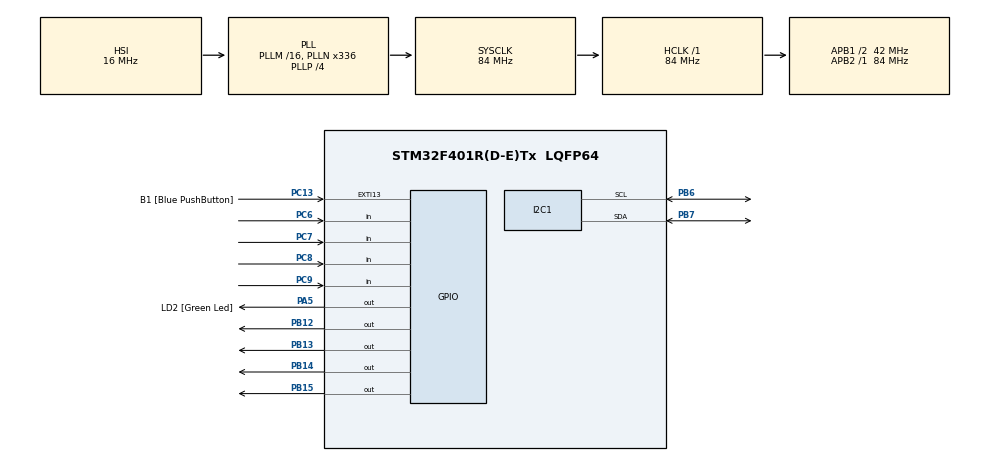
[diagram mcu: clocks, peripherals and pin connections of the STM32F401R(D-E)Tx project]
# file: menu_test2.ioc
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Mcu.Family=STM32F4
Mcu.Name=STM32F401R(D-E)Tx
Mcu.Package=LQFP64
NVIC.PriorityGroup=NVIC_PRIORITYGROUP_0
PA13.GPIO_Label=TMS
PA13.Signal=SYS_JTMS-SWDIO
PA14.GPIO_Label=TCK
PA14.Signal=SYS_JTCK-SWCLK
PA2.GPIO_Label=USART_TX
PA2.GPIO_Mode=GPIO_MODE_AF_PP
PA2.GPIO_PuPd=GPIO_NOPULL
PA2.GPIO_Speed=GPIO_SPEED_FREQ_LOW
PA2.Signal=USART2_TX
PA3.GPIO_Label=USART_RX
PA3.GPIO_Mode=GPIO_MODE_AF_PP
PA3.GPIO_PuPd=GPIO_NOPULL
PA3.GPIO_Speed=GPIO_SPEED_FREQ_LOW
PA3.Signal=USART2_RX
PA5.GPIO_Label=LD2 [Green Led]
PA5.GPIO_Mode=GPIO_MODE_OUTPUT_PP
PA5.GPIO_PuPd=GPIO_NOPULL
PA5.GPIO_Speed=GPIO_SPEED_FREQ_LOW
PA5.Signal=GPIO_Output
PB12.Signal=GPIO_Output
PB13.PinState=GPIO_PIN_SET
PB13.Signal=GPIO_Output
PB14.PinState=GPIO_PIN_SET
PB14.Signal=GPIO_Output
PB15.PinState=GPIO_PIN_SET
PB15.Signal=GPIO_Output
PB3.GPIO_Label=SWO
PB3.Signal=SYS_JTDO-SWO
PB6.Mode=I2C
PB6.Signal=I2C1_SCL
PB7.Mode=I2C
PB7.Signal=I2C1_SDA
PC13-ANTI_TAMP.GPIO_Label=B1 [Blue PushButton]
PC13-ANTI_TAMP.GPIO_ModeDefaultEXTI=GPIO_MODE_IT_FALLING
PC13-ANTI_TAMP.GPIO_PuPd=GPIO_NOPULL
PC13-ANTI_TAMP.Signal=GPXTI13
PC14-OSC32_IN.Signal=RCC_OSC32_IN
PC15-OSC32_OUT.Signal=RCC_OSC32_OUT
PC6.GPIO_PuPd=GPIO_PULLUP
PC6.Signal=GPIO_Input
PC7.GPIO_PuPd=GPIO_PULLUP
PC7.Signal=GPIO_Input
PC8.GPIO_PuPd=GPIO_PULLUP
PC8.Signal=GPIO_Input
PC9.GPIO_PuPd=GPIO_PULLUP
PC9.Signal=GPIO_Input
PH0\ -\ OSC_IN.Signal=RCC_OSC_IN
PH1\ -\ OSC_OUT.Signal=RCC_OSC_OUT
ProjectManager.HeapSize=0x200
ProjectManager.StackSize=0x400
ProjectManager.TargetToolchain=STM32CubeIDE
RCC.AHBFreq_Value=84000000
RCC.APB1CLKDivider=RCC_HCLK_DIV2
RCC.APB1Freq_Value=42000000
RCC.APB1TimFreq_Value=84000000
RCC.APB2Freq_Value=84000000
RCC.APB2TimFreq_Value=84000000
RCC.CortexFreq_Value=84000000
RCC.HCLKFreq_Value=84000000
RCC.HSE_VALUE=8000000
RCC.HSI_VALUE=16000000
RCC.LSE_VALUE=32768
RCC.PLLN=336
RCC.PLLP=RCC_PLLP_DIV4
RCC.PLLQ=7
RCC.SYSCLKFreq_VALUE=84000000
RCC.SYSCLKSource=RCC_SYSCLKSOURCE_PLLCLK
RCC.VCOOutputFreq_Value=336000000
board=NUCLEO-F401RE

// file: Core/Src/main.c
/* USER CODE BEGIN Header */
/**
  ******************************************************************************
  * @file           : main.c
  * @brief          : Main program body
  ******************************************************************************
  * @attention
  *
  * Copyright (c) 2025 STMicroelectronics.
  * All rights reserved.
  *
  * This software is licensed under terms that can be found in the LICENSE file
  * in the root directory of this software component.
  * If no LICENSE file comes with this software, it is provided AS-IS.
  *
  ******************************************************************************
  */
/* USER CODE END Header */
#include "main.h"

/* USER CODE BEGIN Includes */
#include "keypad.h"
#include "LCD_I2C.h"
#include "stdio.h"
#include <string.h>
#include "flash.h"
/* USER CODE END Includes */

I2C_HandleTypeDef hi2c1;

/* USER CODE BEGIN PV */
CLCD_I2C_Name LCD1;
/* USER CODE END PV */

void SystemClock_Config(void);
static void MX_GPIO_Init(void);
static void MX_I2C1_Init(void);

/* USER CODE BEGIN 0 */
typedef struct{
	uint8_t payload[10];
	uint16_t len;
}parameter_t;

parameter_t data;

void delete_data(parameter_t *data) {
    if (data->len > 0) { // Kiểm tra xem có dữ liệu để xóa không
        data->len--; // Giảm độ dài
        data->payload[data->len] = '\0'; // �?ặt ký tự cuối thành '\0'
    }
}

void add_data(parameter_t *data, char c) {
    if (data->len < 10) { // Đảm bảo không vượt quá mảng
        data->payload[data->len] = c; // Thêm ký tự vào vị trí tiếp theo
        data->len++;                   // Cập nhật độ dài
        data->payload[data->len] = '\0'; // Đảm bảo kết thúc chuỗi
    }
}

float b=0;
float a=12.3456;
typedef struct
{
	uint8_t password[10];
	uint8_t s1;
	uint8_t t1;
	uint8_t s2;
	uint8_t t2;
}Parameter_Infor;

Parameter_Infor parameter =
{
		"123123",
		3,
		4,
		5,
		6
};

Parameter_Infor parameter_read;
/* USER CODE END 0 */

int main(void)
{

  /* MCU Configuration--------------------------------------------------------*/

  /* Reset of all peripherals, Initializes the Flash interface and the Systick. */
  HAL_Init();

  /* Configure the system clock */
  SystemClock_Config();

  /* Initialize all configured peripherals */
  MX_GPIO_Init();
  MX_I2C1_Init();
  /* USER CODE BEGIN 2 */
  CLCD_I2C_Init(&LCD1,&hi2c1,0x4e,20,4);
  CLCD_I2C_SetCursor(&LCD1, 3, 0);
  CLCD_I2C_WriteString(&LCD1, "ENTER PASSWORD");

	// vi du ve read , write 1 bien

// flash_unlock();
// flash_erease(FLASH_SECTOR_6);
// flash_write_arr(0x08040000,(uint8_t *)&parameter,sizeof(parameter));
// flash_lock();
 flash_read_arr(0x08040000, (uint8_t*)&parameter_read, sizeof(parameter_read));
  /* USER CODE END 2 */

  /* Infinite loop */
  while (1)
  {

    /* USER CODE BEGIN 3 */
  	  static parameter_t password = {{0},0};
  	  uint16_t btn_value;
  	  btn_value = process_button_pad_value(read_keypad());
  	  if (btn_value) {
	  					switch (btn_value) {
	  						case BUTTON_1:
	  							add_data(&password, '1');
	  							printf("len=%d, payload=%s\n", password.len, password.payload);
	  							CLCD_I2C_SetCursor(&LCD1, 3, 1);
	  							CLCD_I2C_WriteString(&LCD1, (char*)password.payload);
	  							break;

	  						case BUTTON_2:
	  							add_data(&password, '2');
	  							printf("len=%d, payload=%s\n", password.len, password.payload);
	  							CLCD_I2C_SetCursor(&LCD1, 3, 1);
	  							CLCD_I2C_WriteString(&LCD1, (char*)password.payload);
	  							break;

	  						case BUTTON_3:
	  							add_data(&password, '3');
	  							printf("len=%d, payload=%s\n", password.len, password.payload);
	  							CLCD_I2C_SetCursor(&LCD1, 3, 1);
	  							CLCD_I2C_WriteString(&LCD1, (char*)password.payload);
	  							break;

	  						case BUTTON_A:
	  							break;

	  						case BUTTON_4:
	  							add_data(&password, '4');
	  							printf("len=%d, payload=%s\n", password.len, password.payload);
	  							CLCD_I2C_SetCursor(&LCD1, 3, 1);
	  							CLCD_I2C_WriteString(&LCD1, (char*)password.payload);
	  							break;

	  						case BUTTON_5:
	  							add_data(&password, '5');
	  							printf("len=%d, payload=%s\n", password.len, password.payload);
	  							CLCD_I2C_SetCursor(&LCD1, 3, 1);
	  							CLCD_I2C_WriteString(&LCD1, (char*)password.payload);
	  							break;

	  						case BUTTON_6:
	  							add_data(&password, '6');
	  							printf("len=%d, payload=%s\n", password.len, password.payload);
	  							CLCD_I2C_SetCursor(&LCD1, 3, 1);
	  							CLCD_I2C_WriteString(&LCD1, (char*)password.payload);
	  							break;

	  						case BUTTON_B:
	  							break;

	  						case BUTTON_7:
	  							add_data(&password, '7');
	  							printf("len=%d, payload=%s\n", password.len, password.payload);
	  							CLCD_I2C_SetCursor(&LCD1, 3, 1);
	  							CLCD_I2C_WriteString(&LCD1, (char*)password.payload);
	  							break;

	  						case BUTTON_8:
	  							add_data(&password, '8');
	  							printf("len=%d, payload=%s\n", password.len, password.payload);
	  							CLCD_I2C_SetCursor(&LCD1, 3, 1);
	  							CLCD_I2C_WriteString(&LCD1, (char*)password.payload);
	  							break;

	  						case BUTTON_9:
	  							add_data(&password, '9');
	  							printf("len=%d, payload=%s\n", password.len, password.payload);
	  							CLCD_I2C_SetCursor(&LCD1, 3, 1);
	  							CLCD_I2C_WriteString(&LCD1, (char*)password.payload);
	  							break;

	  						case BUTTON_C:
	  							delete_data(&password);
	  							printf("len=%d, payload=%s\n", password.len, password.payload);
	  							CLCD_I2C_SetCursor(&LCD1, 3+password.len, 1);
	  							CLCD_I2C_WriteString(&LCD1, " ");
	  							CLCD_I2C_SetCursor(&LCD1, 3, 1);
	  							CLCD_I2C_WriteString(&LCD1, (char*)password.payload);
	  							break;

	  						case BUTTON_Star:
	  							CLCD_I2C_WriteString(&LCD1, "*");
	  							break;

	  						case BUTTON_0:
	  							add_data(&password, '0');
	  							printf("len=%d, payload=%s\n", password.len, password.payload);
	  							CLCD_I2C_SetCursor(&LCD1, 3, 1);
	  							CLCD_I2C_WriteString(&LCD1, (char*)password.payload);
	  							break;

	  						case BUTTON_Hash:
	  							CLCD_I2C_WriteString(&LCD1, "#");
	  							break;

	  						case BUTTON_D:
	  							if (strcmp((char*)password.payload, (char*)parameter_read.password) == 0) {
	  								CLCD_I2C_Clear(&LCD1);
	  							    CLCD_I2C_SetCursor(&LCD1, 0, 0);
	  							    CLCD_I2C_WriteString(&LCD1, "successful");
	  							}
	  							else {
	  								CLCD_I2C_Clear(&LCD1);
	  							    CLCD_I2C_SetCursor(&LCD1, 3, 0);
	  							    CLCD_I2C_WriteString(&LCD1, "ENTER PASSWORD");
	  							    CLCD_I2C_SetCursor(&LCD1, 3, 1);
	  							    memset(password.payload, 0, sizeof(password.payload));  // reset data
	  							    password.len = 0;  // reset length
	  							}
	  							 break;

	  						default:
	  							 break;
	  							 }// end switch
  	  }
  }
  /* USER CODE END 3 */
}

void SystemClock_Config(void)
{
  RCC_OscInitTypeDef RCC_OscInitStruct = {0};
  RCC_ClkInitTypeDef RCC_ClkInitStruct = {0};

  /** Configure the main internal regulator output voltage
  */
  __HAL_RCC_PWR_CLK_ENABLE();
  __HAL_PWR_VOLTAGESCALING_CONFIG(PWR_REGULATOR_VOLTAGE_SCALE2);

  /** Initializes the RCC Oscillators according to the specified parameters
  * in the RCC_OscInitTypeDef structure.
  */
  RCC_OscInitStruct.OscillatorType = RCC_OSCILLATORTYPE_HSI;
  RCC_OscInitStruct.HSIState = RCC_HSI_ON;
  RCC_OscInitStruct.HSICalibrationValue = RCC_HSICALIBRATION_DEFAULT;
  RCC_OscInitStruct.PLL.PLLState = RCC_PLL_ON;
  RCC_OscInitStruct.PLL.PLLSource = RCC_PLLSOURCE_HSI;
  RCC_OscInitStruct.PLL.PLLM = 16;
  RCC_OscInitStruct.PLL.PLLN = 336;
  RCC_OscInitStruct.PLL.PLLP = RCC_PLLP_DIV4;
  RCC_OscInitStruct.PLL.PLLQ = 7;
  if (HAL_RCC_OscConfig(&RCC_OscInitStruct) != HAL_OK)
  {
    Error_Handler();
  }

  /** Initializes the CPU, AHB and APB buses clocks
  */
  RCC_ClkInitStruct.ClockType = RCC_CLOCKTYPE_HCLK|RCC_CLOCKTYPE_SYSCLK
                              |RCC_CLOCKTYPE_PCLK1|RCC_CLOCKTYPE_PCLK2;
  RCC_ClkInitStruct.SYSCLKSource = RCC_SYSCLKSOURCE_PLLCLK;
  RCC_ClkInitStruct.AHBCLKDivider = RCC_SYSCLK_DIV1;
  RCC_ClkInitStruct.APB1CLKDivider = RCC_HCLK_DIV2;
  RCC_ClkInitStruct.APB2CLKDivider = RCC_HCLK_DIV1;

  if (HAL_RCC_ClockConfig(&RCC_ClkInitStruct, FLASH_LATENCY_2) != HAL_OK)
  {
    Error_Handler();
  }
}

static void MX_I2C1_Init(void)
{

  hi2c1.Instance = I2C1;
  hi2c1.Init.ClockSpeed = 100000;
  hi2c1.Init.DutyCycle = I2C_DUTYCYCLE_2;
  hi2c1.Init.OwnAddress1 = 0;
  hi2c1.Init.AddressingMode = I2C_ADDRESSINGMODE_7BIT;
  hi2c1.Init.DualAddressMode = I2C_DUALADDRESS_DISABLE;
  hi2c1.Init.OwnAddress2 = 0;
  hi2c1.Init.GeneralCallMode = I2C_GENERALCALL_DISABLE;
  hi2c1.Init.NoStretchMode = I2C_NOSTRETCH_DISABLE;
  if (HAL_I2C_Init(&hi2c1) != HAL_OK)
  {
    Error_Handler();
  }

}

static void MX_GPIO_Init(void)
{
  GPIO_InitTypeDef GPIO_InitStruct = {0};

  /* GPIO Ports Clock Enable */
  __HAL_RCC_GPIOC_CLK_ENABLE();
  __HAL_RCC_GPIOH_CLK_ENABLE();
  __HAL_RCC_GPIOA_CLK_ENABLE();
  __HAL_RCC_GPIOB_CLK_ENABLE();

  /*Configure GPIO pin Output Level */
  HAL_GPIO_WritePin(LD2_GPIO_Port, LD2_Pin, GPIO_PIN_RESET);

  /*Configure GPIO pin Output Level */
  HAL_GPIO_WritePin(GPIOB, GPIO_PIN_12, GPIO_PIN_RESET);

  /*Configure GPIO pin Output Level */
  HAL_GPIO_WritePin(GPIOB, GPIO_PIN_13|GPIO_PIN_14|GPIO_PIN_15, GPIO_PIN_SET);

  /*Configure GPIO pin : B1_Pin */
  GPIO_InitStruct.Pin = B1_Pin;
  GPIO_InitStruct.Mode = GPIO_MODE_IT_FALLING;
  GPIO_InitStruct.Pull = GPIO_NOPULL;
  HAL_GPIO_Init(B1_GPIO_Port, &GPIO_InitStruct);

  /*Configure GPIO pins : USART_TX_Pin USART_RX_Pin */
  GPIO_InitStruct.Pin = USART_TX_Pin|USART_RX_Pin;
  GPIO_InitStruct.Mode = GPIO_MODE_AF_PP;
  GPIO_InitStruct.Pull = GPIO_NOPULL;
  GPIO_InitStruct.Speed = GPIO_SPEED_FREQ_LOW;
  GPIO_InitStruct.Alternate = GPIO_AF7_USART2;
  HAL_GPIO_Init(GPIOA, &GPIO_InitStruct);

  /*Configure GPIO pin : LD2_Pin */
  GPIO_InitStruct.Pin = LD2_Pin;
  GPIO_InitStruct.Mode = GPIO_MODE_OUTPUT_PP;
  GPIO_InitStruct.Pull = GPIO_NOPULL;
  GPIO_InitStruct.Speed = GPIO_SPEED_FREQ_LOW;
  HAL_GPIO_Init(LD2_GPIO_Port, &GPIO_InitStruct);

  /*Configure GPIO pins : PB12 PB13 PB14 PB15 */
  GPIO_InitStruct.Pin = GPIO_PIN_12|GPIO_PIN_13|GPIO_PIN_14|GPIO_PIN_15;
  GPIO_InitStruct.Mode = GPIO_MODE_OUTPUT_PP;
  GPIO_InitStruct.Pull = GPIO_NOPULL;
  GPIO_InitStruct.Speed = GPIO_SPEED_FREQ_LOW;
  HAL_GPIO_Init(GPIOB, &GPIO_InitStruct);

  /*Configure GPIO pins : PC6 PC7 PC8 PC9 */
  GPIO_InitStruct.Pin = GPIO_PIN_6|GPIO_PIN_7|GPIO_PIN_8|GPIO_PIN_9;
  GPIO_InitStruct.Mode = GPIO_MODE_INPUT;
  GPIO_InitStruct.Pull = GPIO_PULLUP;
  HAL_GPIO_Init(GPIOC, &GPIO_InitStruct);

}

void Error_Handler(void)
{
  __disable_irq();
  while (1)
  {
  }
}
